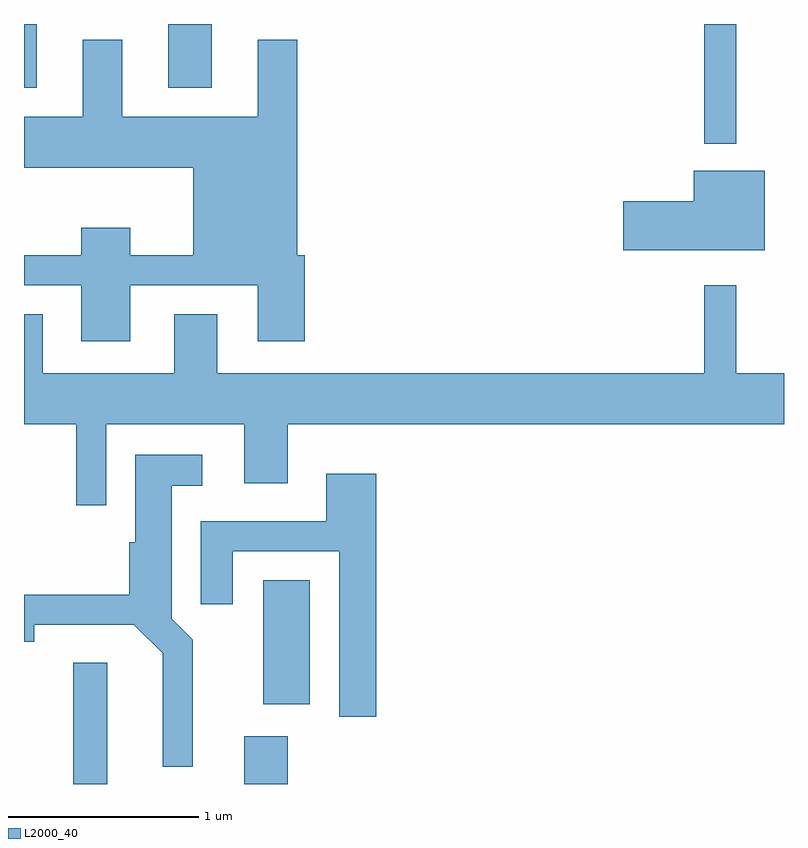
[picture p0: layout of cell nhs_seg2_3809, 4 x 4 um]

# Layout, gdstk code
import gdstk
lib = gdstk.Library(unit=1e-6, precision=1e-09)
def R(c, l, rs):  # rectangles x0, y0, x1, y1
    for r in rs: c.add(gdstk.rectangle(r[:2], r[2:], *l))
def P(c, l, *ps):  # polygons
    for p in ps: c.add(gdstk.Polygon(p, *l))
L2000_40 = (2000, 40)

nhs_seg2_3809 = lib.new_cell('nhs_seg2_3809')
R(nhs_seg2_3809, L2000_40, [(297.871,999.802,298.049,1000.439), (298.771,999.802,298.999,1000.054), (298.871,1000.221,299.114,1000.874), (301.191,1003.173,301.359,1003.802), (297.611,1003.466,297.679,1003.802), (298.371,1003.466,298.599,1003.802)])
P(nhs_seg2_3809, L2000_40, [(298.169,1002.426),(298.841,1002.426),(298.841,1002.131),(299.089,1002.131),(299.089,1002.584),(299.049,1002.584),(299.049,1003.719),(298.841,1003.719),(298.841,1003.314),(298.129,1003.314),(298.129,1003.719),(297.921,1003.719),(297.921,1003.314),(297.611,1003.314),(297.611,1003.046),(298.501,1003.046),(298.501,1002.584),(298.169,1002.584),(298.169,1002.729),(297.911,1002.729),(297.911,1002.584),(297.611,1002.584),(297.611,1002.426),(297.911,1002.426),(297.911,1002.131),(298.169,1002.131)],
  [(301.509,1003.029),(301.136,1003.029),(301.136,1002.869),(300.766,1002.869),(300.766,1002.611),(301.509,1002.611)],
  [(298.044,1001.696),(298.771,1001.696),(298.771,1001.386),(298.999,1001.386),(298.999,1001.696),(301.611,1001.696),(301.611,1001.964),(301.359,1001.964),(301.359,1002.428),(301.191,1002.428),(301.191,1001.964),(298.629,1001.964),(298.629,1002.274),(298.401,1002.274),(298.401,1001.964),(297.709,1001.964),(297.709,1002.274),(297.611,1002.274),(297.611,1001.696),(297.886,1001.696),(297.886,1001.268),(298.044,1001.268)],
  [(298.499,1000.562),(298.389,1000.672),(298.389,1001.371),(298.548,1001.371),(298.548,1001.534),(298.196,1001.534),(298.196,1001.074),(298.166,1001.074),(298.166,1000.799),(297.611,1000.799),(297.611,1000.551),(297.664,1000.551),(297.664,1000.641),(298.189,1000.641),(298.341,1000.489),(298.341,999.893),(298.499,999.893)],
  [(299.464,1001.434),(299.201,1001.434),(299.201,1001.184),(298.541,1001.184),(298.541,1000.748),(298.709,1000.748),(298.709,1001.026),(299.271,1001.026),(299.271,1000.156),(299.464,1000.156)])

lib.write_gds('nhs_seg2_3809.gds')
